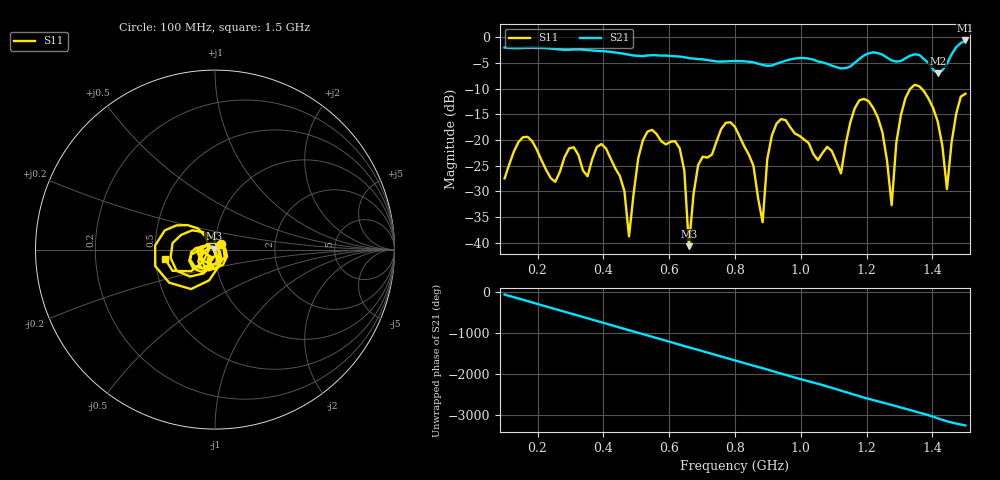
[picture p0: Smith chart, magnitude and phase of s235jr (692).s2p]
! NanoVNA-App
! Date: 2025-09-25 15:09:33
! Start: 100MHz Stop: 1,5GHz Points: 101
! S-Parameter data: F S11 S21 S12 S22
# Hz S RI R 50
!  Frequency  S11_Real  S11_Imag  S21_Real  S21_Imag  S12_Real  S12_Imag  S22_Real  S22_Imag
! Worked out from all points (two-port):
!   101 points, 100 MHz to 1.5 GHz, reference 50 ohm
!   highest |S21| = -0.58 dB at 1.5 GHz (marker M1); lowest = -7.0 dB at 1.416 GHz (marker M2)
!   |S21| within 3 dB of the highest: start of sweep to 508 MHz; 525.5 MHz to 598.7 MHz (73.15 MHz wide, 13 % of centre) (the widest 2 of 5)
!   lowest |S11| = -40.7 dB at 660 MHz (marker M3), VSWR 1.02, Z = 49.3 + j0.531 ohm
!   |S11| at or under -10 dB: start of sweep to 1.333 GHz; 1.367 GHz to end of sweep
!   S12 and S22 are empty: the file has one direction only
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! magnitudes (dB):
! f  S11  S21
! 100 MHz  -27.5  -2.0
! 156 MHz  -19.4  -2.1
! 338 MHz  -25.9  -2.4
! 408 MHz  -21.6  -2.7
! 478 MHz  -38.8  -3.4
! 520 MHz  -20.1  -3.6
! 576 MHz  -20.2  -3.5
! 632 MHz  -21.6  -3.7
! 660 MHz  -40.7  -4.0
! 688 MHz  -24.9  -4.2
! 800 MHz  -17.5  -4.6
! 884 MHz  -36.0  -5.4
! 926 MHz  -16.8  -5.1
! 1.038 GHz  -22.7  -4.3
! 1.122 GHz  -26.5  -6.0
! 1.206 GHz  -12.4  -3.1
! 1.276 GHz  -32.7  -4.5
! 1.29 GHz  -20.6  -4.7
! 1.332 GHz  -10.0  -3.5
! 1.416 GHz  -16.4  -7.0
! 1.444 GHz  -29.6  -5.1
! 1.5 GHz  -11.0  -0.6
